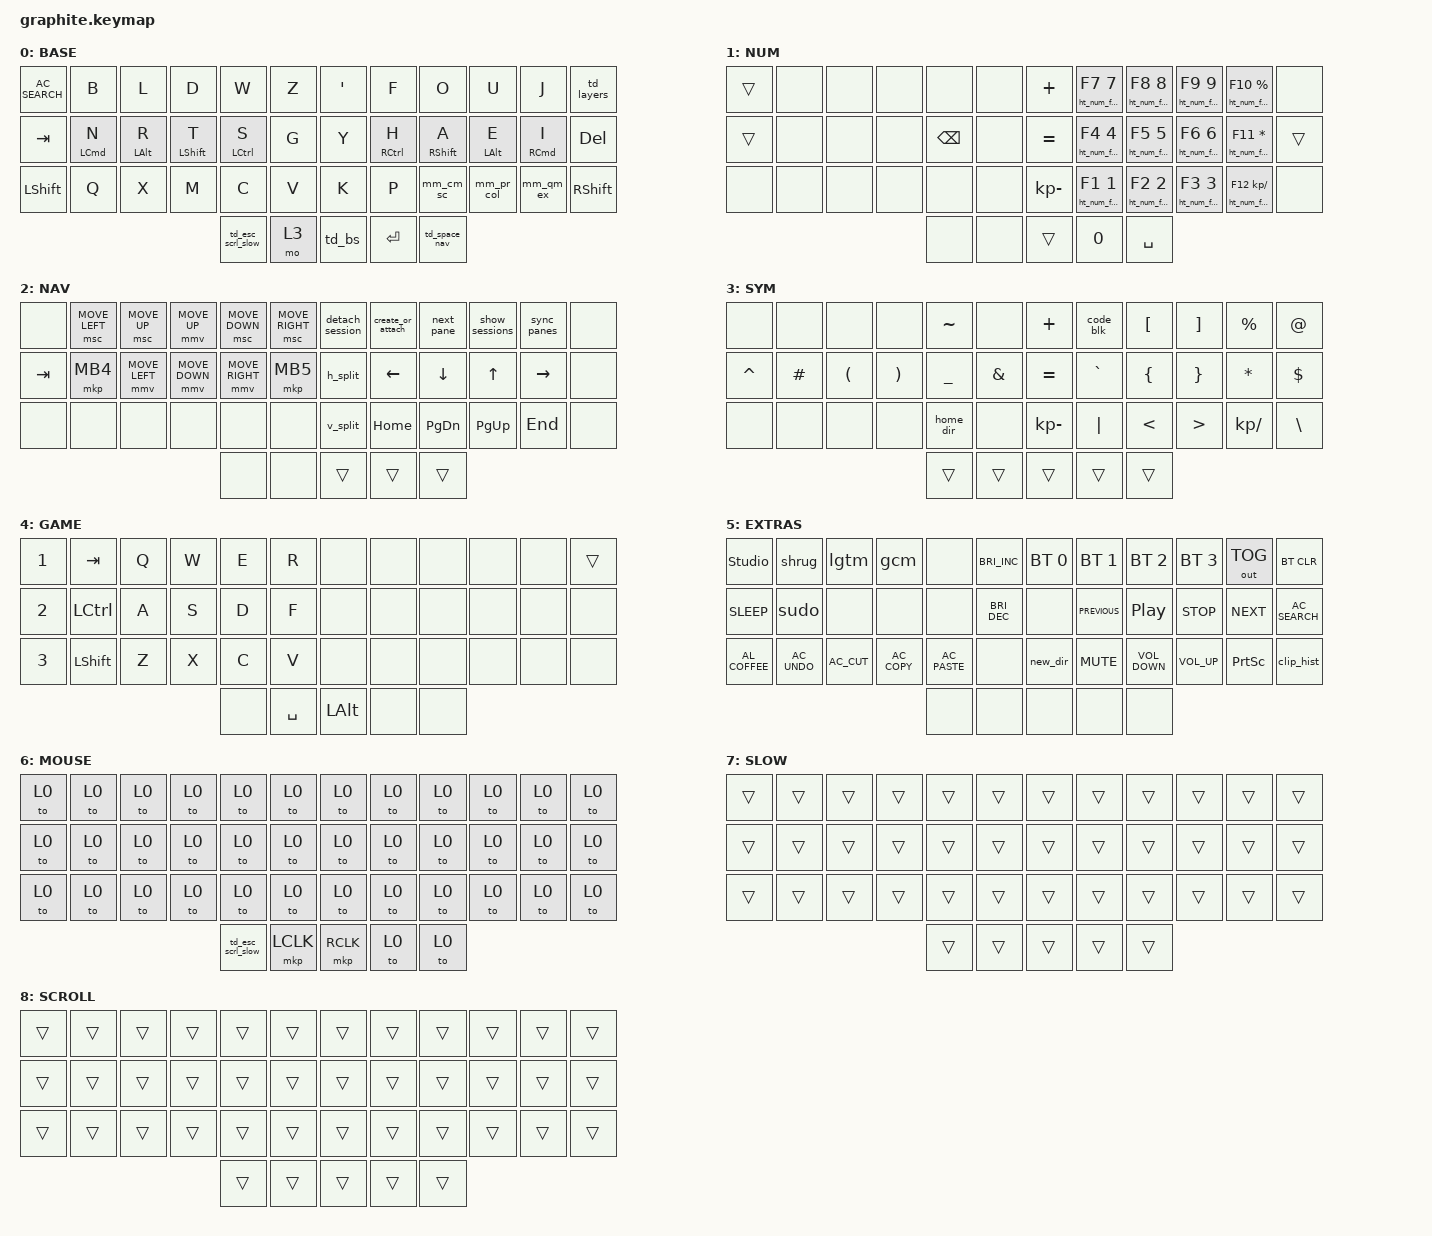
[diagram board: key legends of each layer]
/* upstream bindings and behaviors */
#include <behaviors.dtsi>
#include <dt-bindings/zmk/bt.h>
#include <dt-bindings/zmk/keys.h>
#include <dt-bindings/zmk/mouse.h>
#include <dt-bindings/zmk/outputs.h>
#include <behaviors/mouse_keys.dtsi>
#include <dt-bindings/zmk/ext_power.h>

/* local overlays */
#include "macros.dtsi"
#include "behaviors.dtsi"
#include "combos.dtsi"

/ {
/* --- KEYMAP CONFIG --- */
// ╭──────┬──────┬──────┬──────┬──────┬──────╮  ╭──────┬──────┬──────┬──────┬──────┬──────╮
//    00     01     02     03    04      05        06     07     08     09     10     11
// ├──────┼──────┼──────┼──────┼──────┼──────┤  ├──────┼──────┼──────┼──────┼──────┼──────┤
//    12     13     14     15    16      17        18     19     20     21     22     23
// ├──────┼──────┼──────┼──────┼──────┼──────┤  ├──────┼──────┼──────┼──────┼──────┼──────┤
//    24     25     26     27    28      29        30     31     32     33     34     35
// ╰──────┴──────┴──────┼──────┼──────┼──────┤  ├──────┼──────┼──────┴──────┴──────┴──────╯
//                         36     37     38        39     40
//                      ╰──────┴──────┴──────╯  ╰──────┴──────╯
// #define BASE    0
// #define NUM     1
// #define NAV     2
// #define SYM     3
// #define GAME    4
// #define EXTRAS  5
// #define MOUSE   6
// #define SLOW    7
// #define SCROLL  8

    keymap {
        compatible = "zmk,keymap";
        BASE {
            bindings = <
// ╭───────────────┬────────────────┬────────────────┬─────────────────┬─────────────────┬──────╮  ╭──────┬──────────────────┬──────────────────┬─────────────────┬────────────────────────┬───────────╮
    &kp C_AC_SEARCH &kp B            &kp L            &kp D             &kp W             &kp Z     &kp SQT  &kp F              &kp O              &kp U             &kp J                     &td_layers
// ├───────────────┼────────────────┼────────────────┼─────────────────┼─────────────────┼──────┤  ├──────┼──────────────────┼──────────────────┼─────────────────┼────────────────────────┼───────────┤
    &kp TAB         &ht_left LCMD N  &ht_left LALT R  &ht_left LSHFT T  &ht_left LCTRL S  &kp G     &kp Y  &ht_right RCTRL H  &ht_right RSHFT A  &ht_right LALT E  &ht_right RCMD I  &kp DEL
// ├───────────────┼────────────────┼────────────────┼─────────────────┼─────────────────┼──────┤  ├──────┼──────────────────┼──────────────────┼─────────────────┼────────────────────────┼───────────┤
    &kp LSHFT       &kp Q            &kp X            &kp M             &kp C             &kp V     &kp K  &kp P              &mm_cm_sc          &mm_pr_col        &mm_qm_ex                 &kp RSHFT
// ╰───────────────┴────────────────┴────────────────┼─────────────────┼─────────────────┼──────┤  ├──────┼──────────────────┼──────────────────┴─────────────────┴────────────────────────┴───────────╯
                                                                &td_esc_scrl_slow  &mo 3  &td_bs     &kp ENTER  &td_space_nav
                                                            // ╰──────────────────┴──────┴──────╯  ╰──────────┴──────────────╯
            >;
        };

        NUM {
            bindings = <
&trans   &none  &none  &none  &none          &none            &kp PLUS      &ht_num_func F7 N7  &ht_num_func F8 N8  &ht_num_func F9 N9  &ht_num_func F10 PRCNT     &none
&trans   &none  &none  &none  &kp BACKSPACE  &none            &kp EQUAL     &ht_num_func F4 N4  &ht_num_func F5 N5  &ht_num_func F6 N6  &ht_num_func F11 ASTRK     &trans
&none    &none  &none  &none  &none          &none            &kp KP_MINUS  &ht_num_func F1 N1  &ht_num_func F2 N2  &ht_num_func F3 N3  &ht_num_func F12 KP_SLASH  &none
                       &none  &none          &trans           &kp N0     &kp SPACE
            >;
        };

        NAV {
            bindings = <
&none    &msc MOVE_LEFT  &msc MOVE_UP    &mmv MOVE_UP    &msc MOVE_DOWN   &msc MOVE_RIGHT     &detach_session  &create_or_attach  &next_pane   &show_sessions  &sync_panes       &none
&kp TAB  &mkp MB4        &mmv MOVE_LEFT  &mmv MOVE_DOWN  &mmv MOVE_RIGHT  &mkp MB5            &h_split         &kp LEFT_ARROW     &kp DOWN     &kp UP          &kp RIGHT_ARROW   &none
&none    &none           &none           &none           &none            &none               &v_split         &kp HOME           &kp PG_DN    &kp PG_UP       &kp END           &none
                                                             &none   &none   &trans           &trans   &trans
            >;
        };

        SYM {
            bindings = <
&none      &none     &none     &none     &kp TILDE   &none         &kp PLUS     &code_blk  &kp LBKT  &kp RBKT  &kp PRCNT    &kp AT
&kp CARET  &kp HASH  &kp LPAR  &kp RPAR  &kp UNDER   &kp AMPS      &kp EQUAL    &kp GRAVE  &kp LBRC  &kp RBRC  &kp ASTRK    &kp DLLR
&none      &none     &none     &none     &home_dir   &none         &kp KP_MINUS &kp PIPE   &kp LT    &kp GT    &kp KP_SLASH &kp BSLH
                                       &trans  &trans  &trans      &trans   &trans
            >;
        };

        GAME {
            bindings = <
&kp N1  &kp TAB    &kp Q  &kp W   &kp E      &kp R           &none  &none  &none  &none  &none  &trans
&kp N2  &kp LCTRL  &kp A  &kp S   &kp D      &kp F           &none  &none  &none  &none  &none  &none
&kp N3  &kp LSHFT  &kp Z  &kp X   &kp C      &kp V           &none  &none  &none  &none  &none  &none
                          &none   &kp SPACE  &kp LEFT_ALT    &none  &none
            >;
        };

        EXTRAS {
            bindings = <
&studio_unlock    &shrug          &lgtm           &gcm            &none           &kp C_BRIGHTNESS_INC    &bt BT_SEL 0  &bt BT_SEL 1    &bt BT_SEL 2       &bt BT_SEL 3  &out OUT_TOG         &bt BT_CLR
&kp C_SLEEP       &sudo           &none           &none           &none           &kp C_BRIGHTNESS_DEC    &none         &kp C_PREVIOUS  &kp C_PLAY_PAUSE   &kp C_STOP    &kp C_NEXT           &kp C_AC_SEARCH
&kp C_AL_COFFEE   &kp C_AC_UNDO   &kp C_AC_CUT    &kp C_AC_COPY   &kp C_AC_PASTE  &none                   &new_dir      &kp K_MUTE      &kp C_VOLUME_DOWN  &kp C_VOLUME_UP   &kp PRINTSCREEN  &clip_hist
                                                                                   &none  &none  &none    &none         &none
            >;
        };

        MOUSE {
            bindings = <
&to 0    &to 0    &to 0    &to 0    &to 0    &to 0    &to 0    &to 0    &to 0    &to 0    &to 0    &to 0
&to 0    &to 0    &to 0    &to 0    &to 0    &to 0    &to 0    &to 0    &to 0    &to 0    &to 0    &to 0
&to 0    &to 0    &to 0    &to 0    &to 0    &to 0    &to 0    &to 0    &to 0    &to 0    &to 0    &to 0
                           &td_esc_scrl_slow   &mkp LCLK       &mkp RCLK    &to 0    &to 0
            >;
        };

        SLOW {
            bindings = <
&trans    &trans    &trans    &trans    &trans    &trans    &trans    &trans    &trans    &trans    &trans    &trans
&trans    &trans    &trans    &trans    &trans    &trans    &trans    &trans    &trans    &trans    &trans    &trans
&trans    &trans    &trans    &trans    &trans    &trans    &trans    &trans    &trans    &trans    &trans    &trans
                              &trans    &trans    &trans    &trans    &trans
            >;
        };

        SCROLL {
            bindings = <
&trans    &trans    &trans    &trans    &trans    &trans    &trans    &trans    &trans    &trans    &trans    &trans
&trans    &trans    &trans    &trans    &trans    &trans    &trans    &trans    &trans    &trans    &trans    &trans
&trans    &trans    &trans    &trans    &trans    &trans    &trans    &trans    &trans    &trans    &trans    &trans
                              &trans    &trans    &trans    &trans    &trans
            >;
        };
    };
};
